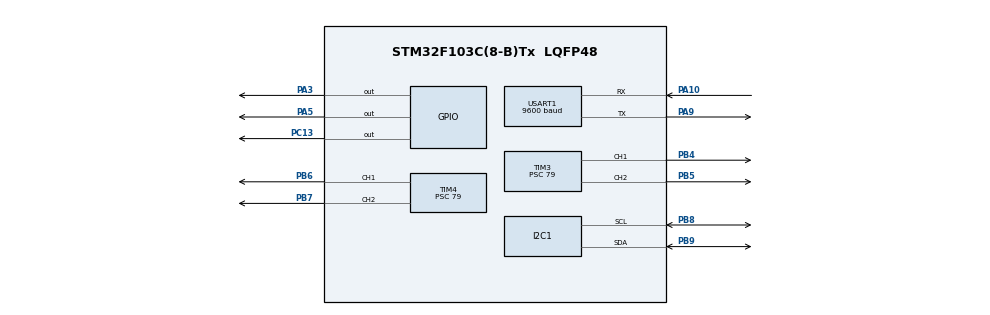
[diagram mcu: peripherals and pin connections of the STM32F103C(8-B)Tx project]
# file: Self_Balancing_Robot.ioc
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Mcu.Family=STM32F1
Mcu.Name=STM32F103C(8-B)Tx
Mcu.Package=LQFP48
NVIC.PriorityGroup=NVIC_PRIORITYGROUP_4
NVIC.TIM1_UP_IRQn=true\:0\:0\:false\:false\:true\:true\:true
NVIC.USART1_IRQn=true\:0\:0\:false\:false\:true\:true\:true
PA10.Mode=Asynchronous
PA10.Signal=USART1_RX
PA13.Mode=Serial_Wire
PA13.Signal=SYS_JTMS-SWDIO
PA14.Mode=Serial_Wire
PA14.Signal=SYS_JTCK-SWCLK
PA3.Signal=GPIO_Output
PA5.Signal=GPIO_Output
PA9.Mode=Asynchronous
PA9.Signal=USART1_TX
PB4.Signal=S_TIM3_CH1
PB5.Signal=S_TIM3_CH2
PB6.Signal=S_TIM4_CH1
PB7.Signal=S_TIM4_CH2
PB8.Mode=I2C
PB8.Signal=I2C1_SCL
PB9.Mode=I2C
PB9.Signal=I2C1_SDA
PC13-TAMPER-RTC.Signal=GPIO_Output
PD0-OSC_IN.Mode=HSE-External-Oscillator
PD0-OSC_IN.Signal=RCC_OSC_IN
PD1-OSC_OUT.Mode=HSE-External-Oscillator
PD1-OSC_OUT.Signal=RCC_OSC_OUT
ProjectManager.HeapSize=0x200
ProjectManager.StackSize=0x400
ProjectManager.TargetToolchain=STM32CubeIDE
RCC.APB1Freq_Value=8000000
RCC.APB2Freq_Value=8000000
SH.S_TIM3_CH1.0=TIM3_CH1,PWM Generation1 CH1
SH.S_TIM3_CH2.0=TIM3_CH2,PWM Generation2 CH2
SH.S_TIM4_CH1.0=TIM4_CH1,PWM Generation1 CH1
SH.S_TIM4_CH2.0=TIM4_CH2,PWM Generation2 CH2
TIM1.Period=99
TIM1.Prescaler=7999
TIM3.Channel-PWM\ Generation1\ CH1=TIM_CHANNEL_1
TIM3.Channel-PWM\ Generation2\ CH2=TIM_CHANNEL_2
TIM3.Period=1999
TIM3.Prescaler=79
TIM4.Channel-PWM\ Generation1\ CH1=TIM_CHANNEL_1
TIM4.Channel-PWM\ Generation2\ CH2=TIM_CHANNEL_2
TIM4.Period=1999
TIM4.Prescaler=79
USART1.BaudRate=9600
USART1.VirtualMode=VM_ASYNC
VP_TIM1_VS_ClockSourceINT.Mode=Internal
board=custom

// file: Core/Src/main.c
/* USER CODE BEGIN Header */
/**
  ******************************************************************************
  * @file           : main.c
  * @brief          : Main program body
  ******************************************************************************
  * @attention
  *
  * <h2><center>&copy; Copyright (c) 2023 STMicroelectronics.
  * All rights reserved.</center></h2>
  *
  * This software component is licensed by ST under BSD 3-Clause license,
  * the "License"; You may not use this file except in compliance with the
  * License. You may obtain a copy of the License at:
  *                        opensource.org/licenses/BSD-3-Clause
  *
  ******************************************************************************
  */
/* USER CODE END Header */
#include "main.h"

/* USER CODE BEGIN Includes */
#include <mpu6050.h>
#include <motor.h>
/* USER CODE END Includes */

I2C_HandleTypeDef hi2c1;

TIM_HandleTypeDef htim1;
TIM_HandleTypeDef htim3;
TIM_HandleTypeDef htim4;

UART_HandleTypeDef huart1;

/* USER CODE BEGIN PV */
	MPU6050_t	t_MPU6050;

	PID_t		t_pid = {
				.f_Kp 		= 0.05,
				.f_Ki		= 0.005,
				.f_Kd		= 0.000002,
				.f_setpoint = -2.0,
	};

	uint8_t		u8_flag_10ms = 0;
	double		d_angle;
	uint8_t 	u8_rx_data;

/* USER CODE END PV */

void SystemClock_Config(void);
static void MX_GPIO_Init(void);
static void MX_I2C1_Init(void);
static void MX_TIM1_Init(void);
static void MX_TIM3_Init(void);
static void MX_TIM4_Init(void);
static void MX_USART1_UART_Init(void);

/* USER CODE BEGIN 0 */
void HAL_TIM_PeriodElapsedCallback(TIM_HandleTypeDef *htim)
{
	if(htim->Instance==TIM1)
	{
		u8_flag_10ms = 1;
	}
}

void HAL_UART_RxCpltCallback(UART_HandleTypeDef *huart)
{
	if(huart->Instance == USART1){
		if(u8_rx_data == 'P'){
			t_pid.f_Kp += 0.001;
		}
		if(u8_rx_data == 'p'){
			t_pid.f_Kp -= 0.001;
		}
		if(u8_rx_data == 'I'){
			t_pid.f_Ki += 0.000001;
		}
		if(u8_rx_data == 'i'){
			t_pid.f_Ki -= 0.000001;
		}
		if(u8_rx_data == 'D'){
			t_pid.f_Kd += 0.0001;
		}
		if(u8_rx_data == 'd'){
			t_pid.f_Kd -= 0.0001;
		}
		if(u8_rx_data == 'O'){
			t_pid.f_setpoint += 0.5;
		}
		if(u8_rx_data == 'o'){
			t_pid.f_setpoint -= 0.5;
		}
		if(u8_rx_data == '0'){
			HAL_GPIO_WritePin(GPIOA, GPIO_PIN_3, 0);
		}
		if(u8_rx_data == '1'){
			HAL_GPIO_WritePin(GPIOA, GPIO_PIN_3, 1);

		}
		HAL_UART_Receive_IT(&huart1,&u8_rx_data,1);
	}

}
/* USER CODE END 0 */

int main(void)
{

  /* MCU Configuration--------------------------------------------------------*/

  /* Reset of all peripherals, Initializes the Flash interface and the Systick. */
  HAL_Init();

  /* Configure the system clock */
  SystemClock_Config();

  /* Initialize all configured peripherals */
  MX_GPIO_Init();
  MX_I2C1_Init();
  MX_TIM1_Init();
  MX_TIM3_Init();
  MX_TIM4_Init();
  MX_USART1_UART_Init();
  /* USER CODE BEGIN 2 */
  HAL_UART_Receive_IT(&huart1,&u8_rx_data,1);
  HAL_TIM_Base_Start_IT(&htim1);
  Init_tim_pwm();

  while (MPU6050_Init(&hi2c1) == 1);

  Reset_PID(&t_pid);

//  HAL_GPIO_WritePin(GPIOA, GPIO_PIN_3, 1);
//  HAL_GPIO_WritePin(GPIOA, GPIO_PIN_5, 1);
//  HAL_Delay(5000);
//  HAL_GPIO_WritePin(GPIOA, GPIO_PIN_3, 0 );
  /* USER CODE END 2 */

  /* Infinite loop */
  while (1)
  {

    /* USER CODE BEGIN 3 */

	  if (u8_flag_10ms)
	  {
		  u8_flag_10ms = 0;
		  MPU6050_Read_All(&hi2c1,&t_MPU6050);
		  d_angle = t_MPU6050.KalmanAngleY;
		  PID_controller(d_angle,&t_pid);
		  Control_motor(d_angle,&t_pid);
	  }
  }
  /* USER CODE END 3 */
}

void SystemClock_Config(void)
{
  RCC_OscInitTypeDef RCC_OscInitStruct = {0};
  RCC_ClkInitTypeDef RCC_ClkInitStruct = {0};

  /** Initializes the RCC Oscillators according to the specified parameters
  * in the RCC_OscInitTypeDef structure.
  */
  RCC_OscInitStruct.OscillatorType = RCC_OSCILLATORTYPE_HSI;
  RCC_OscInitStruct.HSIState = RCC_HSI_ON;
  RCC_OscInitStruct.HSICalibrationValue = RCC_HSICALIBRATION_DEFAULT;
  RCC_OscInitStruct.PLL.PLLState = RCC_PLL_NONE;
  if (HAL_RCC_OscConfig(&RCC_OscInitStruct) != HAL_OK)
  {
    Error_Handler();
  }
  /** Initializes the CPU, AHB and APB buses clocks
  */
  RCC_ClkInitStruct.ClockType = RCC_CLOCKTYPE_HCLK|RCC_CLOCKTYPE_SYSCLK
                              |RCC_CLOCKTYPE_PCLK1|RCC_CLOCKTYPE_PCLK2;
  RCC_ClkInitStruct.SYSCLKSource = RCC_SYSCLKSOURCE_HSI;
  RCC_ClkInitStruct.AHBCLKDivider = RCC_SYSCLK_DIV1;
  RCC_ClkInitStruct.APB1CLKDivider = RCC_HCLK_DIV1;
  RCC_ClkInitStruct.APB2CLKDivider = RCC_HCLK_DIV1;

  if (HAL_RCC_ClockConfig(&RCC_ClkInitStruct, FLASH_LATENCY_0) != HAL_OK)
  {
    Error_Handler();
  }
}

static void MX_I2C1_Init(void)
{

  hi2c1.Instance = I2C1;
  hi2c1.Init.ClockSpeed = 100000;
  hi2c1.Init.DutyCycle = I2C_DUTYCYCLE_2;
  hi2c1.Init.OwnAddress1 = 0;
  hi2c1.Init.AddressingMode = I2C_ADDRESSINGMODE_7BIT;
  hi2c1.Init.DualAddressMode = I2C_DUALADDRESS_DISABLE;
  hi2c1.Init.OwnAddress2 = 0;
  hi2c1.Init.GeneralCallMode = I2C_GENERALCALL_DISABLE;
  hi2c1.Init.NoStretchMode = I2C_NOSTRETCH_DISABLE;
  if (HAL_I2C_Init(&hi2c1) != HAL_OK)
  {
    Error_Handler();
  }

}

static void MX_TIM1_Init(void)
{

  TIM_ClockConfigTypeDef sClockSourceConfig = {0};
  TIM_MasterConfigTypeDef sMasterConfig = {0};

  htim1.Instance = TIM1;
  htim1.Init.Prescaler = 7999;
  htim1.Init.CounterMode = TIM_COUNTERMODE_UP;
  htim1.Init.Period = 99;
  htim1.Init.ClockDivision = TIM_CLOCKDIVISION_DIV1;
  htim1.Init.RepetitionCounter = 0;
  htim1.Init.AutoReloadPreload = TIM_AUTORELOAD_PRELOAD_DISABLE;
  if (HAL_TIM_Base_Init(&htim1) != HAL_OK)
  {
    Error_Handler();
  }
  sClockSourceConfig.ClockSource = TIM_CLOCKSOURCE_INTERNAL;
  if (HAL_TIM_ConfigClockSource(&htim1, &sClockSourceConfig) != HAL_OK)
  {
    Error_Handler();
  }
  sMasterConfig.MasterOutputTrigger = TIM_TRGO_RESET;
  sMasterConfig.MasterSlaveMode = TIM_MASTERSLAVEMODE_DISABLE;
  if (HAL_TIMEx_MasterConfigSynchronization(&htim1, &sMasterConfig) != HAL_OK)
  {
    Error_Handler();
  }

}

static void MX_TIM3_Init(void)
{

  TIM_MasterConfigTypeDef sMasterConfig = {0};
  TIM_OC_InitTypeDef sConfigOC = {0};

  htim3.Instance = TIM3;
  htim3.Init.Prescaler = 79;
  htim3.Init.CounterMode = TIM_COUNTERMODE_UP;
  htim3.Init.Period = 1999;
  htim3.Init.ClockDivision = TIM_CLOCKDIVISION_DIV1;
  htim3.Init.AutoReloadPreload = TIM_AUTORELOAD_PRELOAD_DISABLE;
  if (HAL_TIM_PWM_Init(&htim3) != HAL_OK)
  {
    Error_Handler();
  }
  sMasterConfig.MasterOutputTrigger = TIM_TRGO_RESET;
  sMasterConfig.MasterSlaveMode = TIM_MASTERSLAVEMODE_DISABLE;
  if (HAL_TIMEx_MasterConfigSynchronization(&htim3, &sMasterConfig) != HAL_OK)
  {
    Error_Handler();
  }
  sConfigOC.OCMode = TIM_OCMODE_PWM1;
  sConfigOC.Pulse = 0;
  sConfigOC.OCPolarity = TIM_OCPOLARITY_HIGH;
  sConfigOC.OCFastMode = TIM_OCFAST_DISABLE;
  if (HAL_TIM_PWM_ConfigChannel(&htim3, &sConfigOC, TIM_CHANNEL_1) != HAL_OK)
  {
    Error_Handler();
  }
  if (HAL_TIM_PWM_ConfigChannel(&htim3, &sConfigOC, TIM_CHANNEL_2) != HAL_OK)
  {
    Error_Handler();
  }
  HAL_TIM_MspPostInit(&htim3);

}

static void MX_TIM4_Init(void)
{

  TIM_MasterConfigTypeDef sMasterConfig = {0};
  TIM_OC_InitTypeDef sConfigOC = {0};

  htim4.Instance = TIM4;
  htim4.Init.Prescaler = 79;
  htim4.Init.CounterMode = TIM_COUNTERMODE_UP;
  htim4.Init.Period = 1999;
  htim4.Init.ClockDivision = TIM_CLOCKDIVISION_DIV1;
  htim4.Init.AutoReloadPreload = TIM_AUTORELOAD_PRELOAD_DISABLE;
  if (HAL_TIM_PWM_Init(&htim4) != HAL_OK)
  {
    Error_Handler();
  }
  sMasterConfig.MasterOutputTrigger = TIM_TRGO_RESET;
  sMasterConfig.MasterSlaveMode = TIM_MASTERSLAVEMODE_DISABLE;
  if (HAL_TIMEx_MasterConfigSynchronization(&htim4, &sMasterConfig) != HAL_OK)
  {
    Error_Handler();
  }
  sConfigOC.OCMode = TIM_OCMODE_PWM1;
  sConfigOC.Pulse = 0;
  sConfigOC.OCPolarity = TIM_OCPOLARITY_HIGH;
  sConfigOC.OCFastMode = TIM_OCFAST_DISABLE;
  if (HAL_TIM_PWM_ConfigChannel(&htim4, &sConfigOC, TIM_CHANNEL_1) != HAL_OK)
  {
    Error_Handler();
  }
  if (HAL_TIM_PWM_ConfigChannel(&htim4, &sConfigOC, TIM_CHANNEL_2) != HAL_OK)
  {
    Error_Handler();
  }
  HAL_TIM_MspPostInit(&htim4);

}

static void MX_USART1_UART_Init(void)
{

  huart1.Instance = USART1;
  huart1.Init.BaudRate = 9600;
  huart1.Init.WordLength = UART_WORDLENGTH_8B;
  huart1.Init.StopBits = UART_STOPBITS_1;
  huart1.Init.Parity = UART_PARITY_NONE;
  huart1.Init.Mode = UART_MODE_TX_RX;
  huart1.Init.HwFlowCtl = UART_HWCONTROL_NONE;
  huart1.Init.OverSampling = UART_OVERSAMPLING_16;
  if (HAL_UART_Init(&huart1) != HAL_OK)
  {
    Error_Handler();
  }

}

static void MX_GPIO_Init(void)
{
  GPIO_InitTypeDef GPIO_InitStruct = {0};

  /* GPIO Ports Clock Enable */
  __HAL_RCC_GPIOC_CLK_ENABLE();
  __HAL_RCC_GPIOD_CLK_ENABLE();
  __HAL_RCC_GPIOA_CLK_ENABLE();
  __HAL_RCC_GPIOB_CLK_ENABLE();

  /*Configure GPIO pin Output Level */
  HAL_GPIO_WritePin(GPIOC, GPIO_PIN_13, GPIO_PIN_RESET);

  /*Configure GPIO pin Output Level */
  HAL_GPIO_WritePin(GPIOA, GPIO_PIN_3|GPIO_PIN_5, GPIO_PIN_RESET);

  /*Configure GPIO pin : PC13 */
  GPIO_InitStruct.Pin = GPIO_PIN_13;
  GPIO_InitStruct.Mode = GPIO_MODE_OUTPUT_PP;
  GPIO_InitStruct.Pull = GPIO_NOPULL;
  GPIO_InitStruct.Speed = GPIO_SPEED_FREQ_LOW;
  HAL_GPIO_Init(GPIOC, &GPIO_InitStruct);

  /*Configure GPIO pins : PA3 PA5 */
  GPIO_InitStruct.Pin = GPIO_PIN_3|GPIO_PIN_5;
  GPIO_InitStruct.Mode = GPIO_MODE_OUTPUT_PP;
  GPIO_InitStruct.Pull = GPIO_NOPULL;
  GPIO_InitStruct.Speed = GPIO_SPEED_FREQ_LOW;
  HAL_GPIO_Init(GPIOA, &GPIO_InitStruct);

}

void Error_Handler(void)
{
  __disable_irq();
  while (1)
  {
  }
}

/************************ (C) COPYRIGHT STMicroelectronics *****END OF FILE****/
